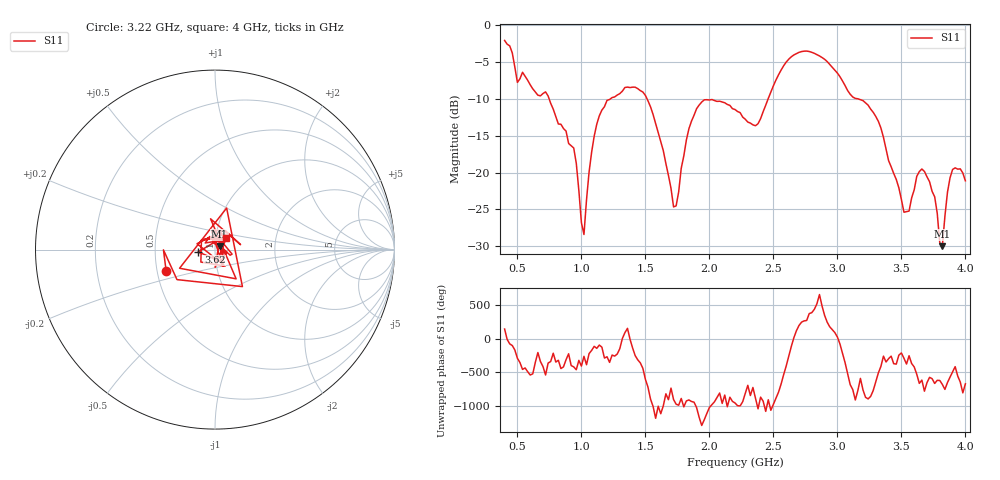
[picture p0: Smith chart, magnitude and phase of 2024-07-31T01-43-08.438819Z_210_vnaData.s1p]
!Created with skrf (http://scikit-rf.org).
# Hz S RI R 50.0
!freq ReS11 ImS11
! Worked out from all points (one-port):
!   181 points, 400 MHz to 4 GHz, reference 50 ohm
!   lowest |S11| = -30.0 dB at 3.82 GHz (marker M1), VSWR 1.07, Z = 52.6 + j1.96 ohm
!   |S11| at or under -10 dB: 748.2 MHz to 1.225 GHz (476.9 MHz wide, 48.3 % of centre); 1.513 GHz to 2.458 GHz (944.9 MHz wide, 47.6 % of centre); 3.165 GHz to end of sweep
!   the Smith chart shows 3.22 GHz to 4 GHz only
!   S11 on the Smith chart (normalised r, x): 3.22 GHz: 0.56, -0.15; 3.62 GHz: 0.83, -0.02; 4 GHz: 1.12, +0.14
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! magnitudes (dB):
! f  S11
! 400 MHz  -2.0
! 500 MHz  -7.7
! 720 MHz  -9.0
! 860 MHz  -14.0
! 940 MHz  -16.7
! 1.02 GHz  -28.4
! 1.06 GHz  -19.9
! 1.12 GHz  -13.4
! 1.3 GHz  -9.3
! 1.5 GHz  -9.5
! 1.64 GHz  -17.0
! 1.72 GHz  -24.7
! 1.76 GHz  -22.6
! 1.82 GHz  -15.6
! 1.9 GHz  -11.3
! 2.2 GHz  -11.4
! 2.38 GHz  -13.4
! 2.66 GHz  -4.0
! 2.9 GHz  -4.6
! 3.1 GHz  -9.4
! 3.22 GHz  -10.5
! 3.56 GHz  -25.2
! 3.62 GHz  -20.5
! 3.72 GHz  -21.2
! 3.82 GHz  -30.0
! 3.86 GHz  -22.7
! 3.9 GHz  -19.6
! 4 GHz  -21.1
